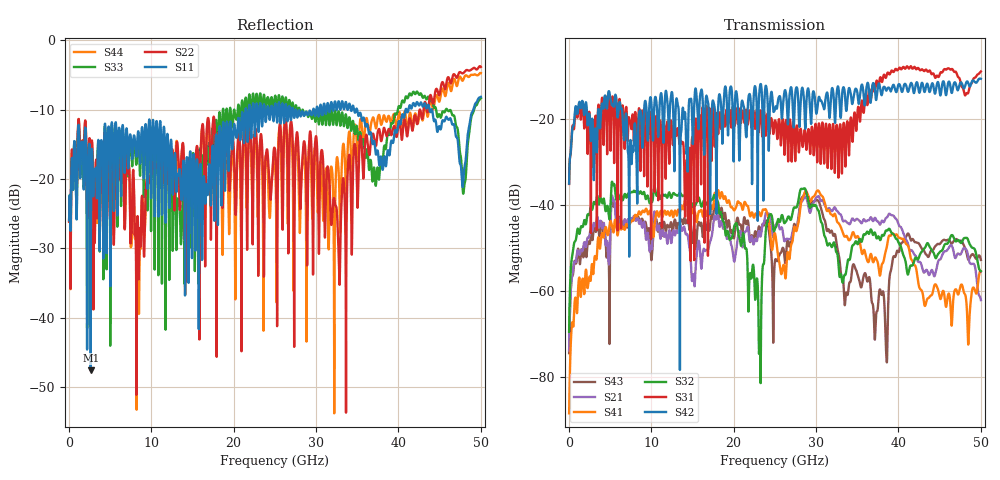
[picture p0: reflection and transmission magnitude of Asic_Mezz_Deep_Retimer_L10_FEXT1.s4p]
! Created Wed Jul  3 15:44:27 2019
# hz S ma R 50
! 4 Port Network Data from SP1.SP block
! freq  magS11  angS11  magS12  angS12  magS13  angS13  magS14  angS14
!  magS21  angS21  magS22  angS22  magS23  angS23  magS24  angS24
!  magS31  angS31  magS32  angS32  magS33  angS33  magS34  angS34
!  magS41  angS41  magS42  angS42  magS43  angS43  magS44  angS44
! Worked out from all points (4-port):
!   4996 points, 50 MHz to 50 GHz, reference 50 ohm
!   strongest paths, dB at 50 MHz, 12.54 GHz, 25.03 GHz, 37.52 GHz, 50 GHz:
!     S42: -35.0, -13.8, -17.5, -12.4, -10.6
!     S31: -35.1, -22.9, -20.3, -12.3, -8.9
!     S32: -69.6, -37.9, -45.5, -47.4, -55.5
!     S41: -88.6, -41.7, -46.7, -53.7, -55.4
!     S21: -73.9, -47.5, -44.9, -43.8, -62.2
!     S43: -74.6, -45.5, -52.9, -63.5, -52.8
!   lowest |S11| = -47.6 dB at 2.67 GHz (marker M1), VSWR 1.01, Z = 49.6 + j0.0892 ohm
!   |S11| at or under -10 dB: start of sweep to 21.45 GHz; 34.99 GHz to 40.87 GHz (5.876 GHz wide, 15.5 % of centre); 44.07 GHz to 49.08 GHz (5.01 GHz wide, 10.8 % of centre)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
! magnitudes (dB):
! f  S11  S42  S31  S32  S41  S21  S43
! 50 MHz  -26.0  -35.0  -35.1  -69.6  -88.6  -73.9  -74.6
! 2.67 GHz  -47.6  -24.7  -34.7  -40.5  -57.5  -45.4  -47.1
! 17.78 GHz  -16.2  -19.5  -22.6  -38.3  -37.3  -43.0  -40.4
! 23.17 GHz  -9.6  -12.8  -18.8  -69.3  -42.0  -46.8  -45.5
! 28.29 GHz  -10.3  -12.8  -25.1  -36.3  -38.8  -39.1  -38.3
! 32.8 GHz  -8.9  -14.2  -25.5  -55.8  -44.4  -42.0  -52.1
! 50 GHz  -8.1  -10.6  -8.9  -55.5  -55.4  -62.2  -52.8
